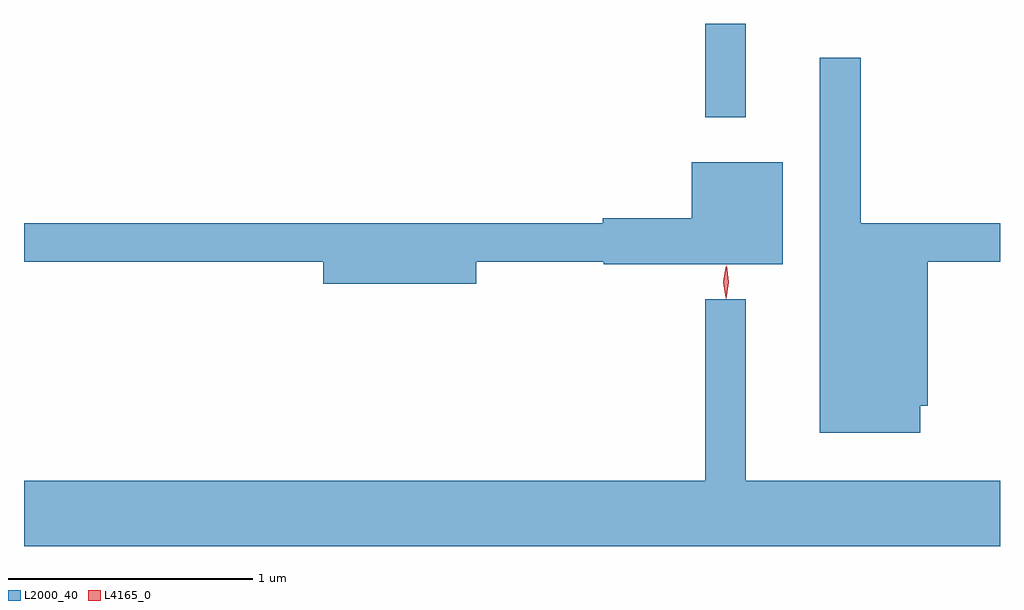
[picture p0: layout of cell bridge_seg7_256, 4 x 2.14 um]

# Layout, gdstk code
import gdstk
lib = gdstk.Library(unit=1e-6, precision=1e-09)
def R(c, l, rs):  # rectangles x0, y0, x1, y1
    for r in rs: c.add(gdstk.rectangle(r[:2], r[2:], *l))
def P(c, l, *ps):  # polygons
    for p in ps: c.add(gdstk.Polygon(p, *l))
L2000_40 = (2000, 40)
L4165_0 = (4165, 0)

bridge_seg7_256 = lib.new_cell('bridge_seg7_256')
R(bridge_seg7_256, L2000_40, [(1424.511,1795.993,1424.679,1796.376)])
P(bridge_seg7_256, L2000_40, [(1425.394,1794.811),(1425.424,1794.811),(1425.424,1795.401),(1425.72,1795.401),(1425.72,1795.559),(1425.149,1795.559),(1425.149,1796.238),(1424.981,1796.238),(1424.981,1794.701),(1425.394,1794.701)],
  [(1423.574,1795.401),(1424.095,1795.401),(1424.095,1795.391),(1424.829,1795.391),(1424.829,1795.809),(1424.456,1795.809),(1424.456,1795.579),(1424.091,1795.579),(1424.091,1795.559),(1421.72,1795.559),(1421.72,1795.401),(1422.946,1795.401),(1422.946,1795.311),(1423.574,1795.311)],
  [(1425.72,1794.504),(1424.679,1794.504),(1424.679,1795.248),(1424.511,1795.248),(1424.511,1794.504),(1421.72,1794.504),(1421.72,1794.236),(1425.72,1794.236)])
P(bridge_seg7_256, L4165_0, [(1424.598,1795.25),(1424.598,1795.25),(1424.59,1795.318),(1424.6,1795.386),(1424.601,1795.386),(1424.601,1795.386),(1424.609,1795.318),(1424.599,1795.25)],
  [(1424.595,1795.253),(1424.586,1795.317),(1424.595,1795.381),(1424.596,1795.381),(1424.596,1795.381),(1424.606,1795.317),(1424.596,1795.253),(1424.596,1795.253)])

lib.write_gds('bridge_seg7_256.gds')
